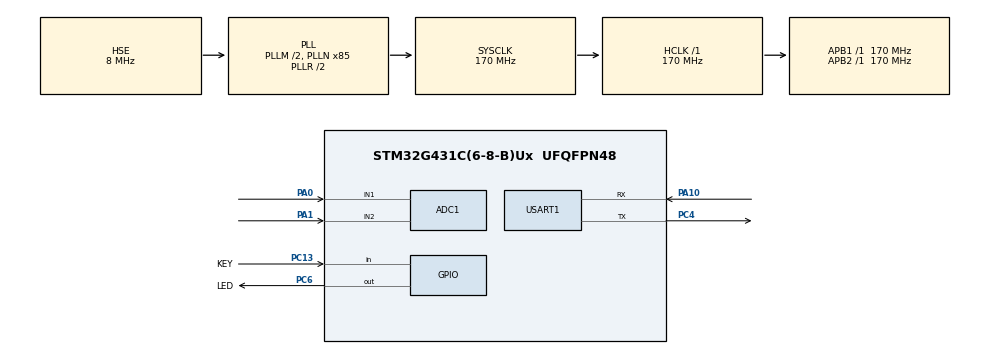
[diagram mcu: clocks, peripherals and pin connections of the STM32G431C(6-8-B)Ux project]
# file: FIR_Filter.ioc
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ADC1.Channel-0\#ChannelRegularConversion=ADC_CHANNEL_1
ADC1.Channel-1\#ChannelRegularConversion=ADC_CHANNEL_2
ADC1.ClockPrescaler=ADC_CLOCK_ASYNC_DIV12
ADC1.ContinuousConvMode=DISABLE
ADC1.DMAContinuousRequests=ENABLE
ADC1.DiscontinuousConvMode=DISABLE
ADC1.EOCSelection=ADC_EOC_SINGLE_CONV
ADC1.ExternalTrigConv=ADC_EXTERNALTRIG_T6_TRGO
ADC1.NbrOfConversion=2
ADC1.NbrOfConversionFlag=1
ADC1.OffsetNumber-0\#ChannelRegularConversion=ADC_OFFSET_NONE
ADC1.OffsetNumber-1\#ChannelRegularConversion=ADC_OFFSET_NONE
ADC1.Overrun=ADC_OVR_DATA_OVERWRITTEN
ADC1.Rank-0\#ChannelRegularConversion=1
ADC1.Rank-1\#ChannelRegularConversion=2
ADC1.SamplingTime-0\#ChannelRegularConversion=ADC_SAMPLETIME_2CYCLES_5
ADC1.SamplingTime-1\#ChannelRegularConversion=ADC_SAMPLETIME_2CYCLES_5
ADC1.master=1
Dma.ADC1.0.Direction=DMA_PERIPH_TO_MEMORY
Dma.ADC1.0.EventEnable=DISABLE
Dma.ADC1.0.Instance=DMA1_Channel1
Dma.ADC1.0.MemDataAlignment=DMA_MDATAALIGN_WORD
Dma.ADC1.0.MemInc=DMA_MINC_ENABLE
Dma.ADC1.0.Mode=DMA_CIRCULAR
Dma.ADC1.0.PeriphDataAlignment=DMA_PDATAALIGN_WORD
Dma.ADC1.0.PeriphInc=DMA_PINC_DISABLE
Dma.ADC1.0.Polarity=HAL_DMAMUX_REQ_GEN_RISING
Dma.ADC1.0.Priority=DMA_PRIORITY_LOW
Dma.ADC1.0.RequestNumber=1
Dma.ADC1.0.SignalID=NONE
Dma.ADC1.0.SyncEnable=DISABLE
Dma.ADC1.0.SyncPolarity=HAL_DMAMUX_SYNC_NO_EVENT
Dma.ADC1.0.SyncRequestNumber=1
Dma.ADC1.0.SyncSignalID=NONE
Dma.Request0=ADC1
Mcu.Family=STM32G4
Mcu.Name=STM32G431C(6-8-B)Ux
Mcu.Package=UFQFPN48
NVIC.DMA1_Channel1_IRQn=true\:0\:0\:false\:false\:true\:false\:true\:true
NVIC.PriorityGroup=NVIC_PRIORITYGROUP_4
PA0.Mode=IN1-Single-Ended
PA0.Signal=ADC1_IN1
PA1.Mode=IN2-Single-Ended
PA1.Signal=ADC1_IN2
PA10.Mode=Asynchronous
PA10.Signal=USART1_RX
PA13.Mode=Trace_Asynchronous_SW
PA13.Signal=SYS_JTMS-SWDIO
PA14.Mode=Trace_Asynchronous_SW
PA14.Signal=SYS_JTCK-SWCLK
PB3.Mode=Trace_Asynchronous_SW
PB3.Signal=SYS_JTDO-SWO
PC13.GPIO_Label=KEY
PC13.GPIO_PuPd=GPIO_PULLDOWN
PC13.Signal=GPIO_Input
PC4.Mode=Asynchronous
PC4.Signal=USART1_TX
PC6.GPIO_Label=LED
PC6.GPIO_ModeDefaultOutputPP=GPIO_MODE_OUTPUT_PP
PC6.GPIO_Speed=GPIO_SPEED_FREQ_LOW
PC6.PinState=GPIO_PIN_RESET
PC6.Signal=GPIO_Output
PF0-OSC_IN.Mode=HSE-External-Oscillator
PF0-OSC_IN.Signal=RCC_OSC_IN
PF1-OSC_OUT.Mode=HSE-External-Oscillator
PF1-OSC_OUT.Signal=RCC_OSC_OUT
ProjectManager.HeapSize=0x200
ProjectManager.StackSize=0x400
ProjectManager.TargetToolchain=STM32CubeIDE
RCC.ADC12Freq_Value=170000000
RCC.AHBFreq_Value=170000000
RCC.APB1Freq_Value=170000000
RCC.APB1TimFreq_Value=170000000
RCC.APB2Freq_Value=170000000
RCC.APB2TimFreq_Value=170000000
RCC.CortexFreq_Value=170000000
RCC.EXTERNAL_CLOCK_VALUE=12288000
RCC.HCLKFreq_Value=170000000
RCC.HSE_VALUE=8000000
RCC.HSI48_VALUE=48000000
RCC.HSI_VALUE=16000000
RCC.LSE_VALUE=32768
RCC.PLLM=RCC_PLLM_DIV2
RCC.PLLN=85
RCC.PLLSourceVirtual=RCC_PLLSOURCE_HSE
RCC.SYSCLKFreq_VALUE=170000000
RCC.SYSCLKSource=RCC_SYSCLKSOURCE_PLLCLK
RCC.USBFreq_Value=170000000
RCC.VCOOutputFreq_Value=340000000
STMicroelectronics.X-CUBE-ALGOBUILD.1.4.0.LibraryCcDSPOoLibraryJjDSPOoLibrary=true
TIM6.PeriodNoDither=2000
TIM6.Prescaler=170-1
TIM6.TIM_MasterOutputTrigger=TIM_TRGO_UPDATE
USART1.VirtualMode-Asynchronous=VM_ASYNC
VP_STMicroelectronics.X-CUBE-ALGOBUILD_VS_DSPOoLibraryJjLibrary_1.4.0_1.4.0.Mode=DSPOoLibraryJjLibrary
VP_SYS_VS_DBSignals.Mode=DisableDeadBatterySignals
VP_TIM6_VS_ClockSourceINT.Mode=Enable_Timer
board=custom

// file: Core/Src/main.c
/* USER CODE BEGIN Header */
/**
  ******************************************************************************
  * @file           : main.c
  * @brief          : Main program body
  ******************************************************************************
  * @attention
  *
  * Copyright (c) 2025 STMicroelectronics.
  * All rights reserved.
  *
  * This software is licensed under terms that can be found in the LICENSE file
  * in the root directory of this software component.
  * If no LICENSE file comes with this software, it is provided AS-IS.
  *
  ******************************************************************************
  */
/* USER CODE END Header */
#include "main.h"

/* USER CODE BEGIN Includes */
#include "console.h"
#include "arm_math.h"
/* USER CODE END Includes */

/* USER CODE BEGIN PD */

#define FIR_LENGTH			59
#define FIR_BLOCK_SIZE		2

/* USER CODE END PD */

ADC_HandleTypeDef hadc1;
DMA_HandleTypeDef hdma_adc1;

TIM_HandleTypeDef htim6;

UART_HandleTypeDef huart1;

/* USER CODE BEGIN PV */

float32_t FIR_Coeff[FIR_LENGTH] = {
    0.000000000000000000,
    0.000025695329810175,
    0.000109001586731170,
    0.000261383834469497,
    0.000497284187006939,
    0.000834034055775751,
    0.001291444409523049,
    0.001891070645768172,
    0.002655173095064218,
    0.003605418278370960,
    0.004761388110941483,
    0.006138982684280025,
    0.007748815659053334,
    0.009594708572398906,
    0.011672390798343837,
    0.013968505240990876,
    0.016460006299700354,
    0.019114016903342568,
    0.021888186575993940,
    0.024731564041054279,
    0.027585967536853457,
    0.030387805705078656,
    0.033070273559075519,
    0.035565823484471772,
    0.037808792095928072,
    0.039738051371860414,
    0.041299547699896848,
    0.042448595699213505,
    0.043151804843812071,
    0.043388535390380012,
    0.043151804843812071,
    0.042448595699213505,
    0.041299547699896848,
    0.039738051371860407,
    0.037808792095928072,
    0.035565823484471785,
    0.033070273559075540,
    0.030387805705078645,
    0.027585967536853460,
    0.024731564041054296,
    0.021888186575993951,
    0.019114016903342579,
    0.016460006299700354,
    0.013968505240990888,
    0.011672390798343854,
    0.009594708572398910,
    0.007748815659053343,
    0.006138982684280031,
    0.004761388110941481,
    0.003605418278370961,
    0.002655173095064216,
    0.001891070645768171,
    0.001291444409523047,
    0.000834034055775751,
    0.000497284187006940,
    0.000261383834469497,
    0.000109001586731170,
    0.000025695329810175,
    0.000000000000000000};

arm_fir_instance_f32 FIR_Instance;
float32_t FIR_In_arm[FIR_BLOCK_SIZE], FIR_Out_arm[FIR_BLOCK_SIZE], FIR_State[FIR_BLOCK_SIZE + FIR_LENGTH - 1];

uint32_t ADC_Array[FIR_BLOCK_SIZE];

/* USER CODE END PV */

void SystemClock_Config(void);
static void MX_GPIO_Init(void);
static void MX_DMA_Init(void);
static void MX_ADC1_Init(void);
static void MX_USART1_UART_Init(void);
static void MX_TIM6_Init(void);

/* USER CODE BEGIN 0 */

void ADCArrayToFIR(void) {
	FIR_In_arm[0] = (float32_t)ADC_Array[0];
	FIR_In_arm[1] = (float32_t)ADC_Array[1];
	arm_fir_f32(&FIR_Instance, (float32_t *)&FIR_In_arm, (float32_t *)&FIR_Out_arm, FIR_BLOCK_SIZE);
}

/* USER CODE END 0 */

int main(void)
{

  /* MCU Configuration--------------------------------------------------------*/

  /* Reset of all peripherals, Initializes the Flash interface and the Systick. */
  HAL_Init();

  /* Configure the system clock */
  SystemClock_Config();

  /* Initialize all configured peripherals */
  MX_GPIO_Init();
  MX_DMA_Init();
  MX_ADC1_Init();
  MX_USART1_UART_Init();
  MX_TIM6_Init();
  /* USER CODE BEGIN 2 */

  // Init Filter
  arm_fir_init_f32(&FIR_Instance, FIR_LENGTH, (float32_t *)&FIR_Coeff, (float32_t *)&FIR_State, FIR_BLOCK_SIZE);

  // Calibrate ADC
  HAL_ADCEx_Calibration_Start(&hadc1, ADC_SINGLE_ENDED);

  // Start ADC
  HAL_ADC_Start_DMA(&hadc1, (uint32_t *)&ADC_Array, FIR_BLOCK_SIZE);

  // Disable Half Transfer Interrupt
  __HAL_DMA_DISABLE_IT(&hdma_adc1, DMA_IT_HT);

  // Start Clock Timer
  HAL_TIM_Base_Start(&htim6);

  printf("\r\nStart\r\n");

  /* USER CODE END 2 */

  /* Infinite loop */
  /* USER CODE BEGIN WHILE */
  while (1)
  {

	 HAL_Delay(100);

    /* USER CODE END WHILE */

  }
}

void SystemClock_Config(void)
{
  RCC_OscInitTypeDef RCC_OscInitStruct = {0};
  RCC_ClkInitTypeDef RCC_ClkInitStruct = {0};

  /** Configure the main internal regulator output voltage
  */
  HAL_PWREx_ControlVoltageScaling(PWR_REGULATOR_VOLTAGE_SCALE1_BOOST);

  /** Initializes the RCC Oscillators according to the specified parameters
  * in the RCC_OscInitTypeDef structure.
  */
  RCC_OscInitStruct.OscillatorType = RCC_OSCILLATORTYPE_HSE;
  RCC_OscInitStruct.HSEState = RCC_HSE_ON;
  RCC_OscInitStruct.PLL.PLLState = RCC_PLL_ON;
  RCC_OscInitStruct.PLL.PLLSource = RCC_PLLSOURCE_HSE;
  RCC_OscInitStruct.PLL.PLLM = RCC_PLLM_DIV2;
  RCC_OscInitStruct.PLL.PLLN = 85;
  RCC_OscInitStruct.PLL.PLLP = RCC_PLLP_DIV2;
  RCC_OscInitStruct.PLL.PLLQ = RCC_PLLQ_DIV2;
  RCC_OscInitStruct.PLL.PLLR = RCC_PLLR_DIV2;
  if (HAL_RCC_OscConfig(&RCC_OscInitStruct) != HAL_OK)
  {
    Error_Handler();
  }

  /** Initializes the CPU, AHB and APB buses clocks
  */
  RCC_ClkInitStruct.ClockType = RCC_CLOCKTYPE_HCLK|RCC_CLOCKTYPE_SYSCLK
                              |RCC_CLOCKTYPE_PCLK1|RCC_CLOCKTYPE_PCLK2;
  RCC_ClkInitStruct.SYSCLKSource = RCC_SYSCLKSOURCE_PLLCLK;
  RCC_ClkInitStruct.AHBCLKDivider = RCC_SYSCLK_DIV1;
  RCC_ClkInitStruct.APB1CLKDivider = RCC_HCLK_DIV1;
  RCC_ClkInitStruct.APB2CLKDivider = RCC_HCLK_DIV1;

  if (HAL_RCC_ClockConfig(&RCC_ClkInitStruct, FLASH_LATENCY_4) != HAL_OK)
  {
    Error_Handler();
  }
}

static void MX_ADC1_Init(void)
{

  ADC_MultiModeTypeDef multimode = {0};
  ADC_ChannelConfTypeDef sConfig = {0};

  /** Common config
  */
  hadc1.Instance = ADC1;
  hadc1.Init.ClockPrescaler = ADC_CLOCK_ASYNC_DIV12;
  hadc1.Init.Resolution = ADC_RESOLUTION_12B;
  hadc1.Init.DataAlign = ADC_DATAALIGN_RIGHT;
  hadc1.Init.GainCompensation = 0;
  hadc1.Init.ScanConvMode = ADC_SCAN_ENABLE;
  hadc1.Init.EOCSelection = ADC_EOC_SINGLE_CONV;
  hadc1.Init.LowPowerAutoWait = DISABLE;
  hadc1.Init.ContinuousConvMode = DISABLE;
  hadc1.Init.NbrOfConversion = 2;
  hadc1.Init.DiscontinuousConvMode = DISABLE;
  hadc1.Init.ExternalTrigConv = ADC_EXTERNALTRIG_T6_TRGO;
  hadc1.Init.ExternalTrigConvEdge = ADC_EXTERNALTRIGCONVEDGE_RISING;
  hadc1.Init.DMAContinuousRequests = ENABLE;
  hadc1.Init.Overrun = ADC_OVR_DATA_OVERWRITTEN;
  hadc1.Init.OversamplingMode = DISABLE;
  if (HAL_ADC_Init(&hadc1) != HAL_OK)
  {
    Error_Handler();
  }

  /** Configure the ADC multi-mode
  */
  multimode.Mode = ADC_MODE_INDEPENDENT;
  if (HAL_ADCEx_MultiModeConfigChannel(&hadc1, &multimode) != HAL_OK)
  {
    Error_Handler();
  }

  /** Configure Regular Channel
  */
  sConfig.Channel = ADC_CHANNEL_1;
  sConfig.Rank = ADC_REGULAR_RANK_1;
  sConfig.SamplingTime = ADC_SAMPLETIME_2CYCLES_5;
  sConfig.SingleDiff = ADC_SINGLE_ENDED;
  sConfig.OffsetNumber = ADC_OFFSET_NONE;
  sConfig.Offset = 0;
  if (HAL_ADC_ConfigChannel(&hadc1, &sConfig) != HAL_OK)
  {
    Error_Handler();
  }

  /** Configure Regular Channel
  */
  sConfig.Channel = ADC_CHANNEL_2;
  sConfig.Rank = ADC_REGULAR_RANK_2;
  if (HAL_ADC_ConfigChannel(&hadc1, &sConfig) != HAL_OK)
  {
    Error_Handler();
  }

}

static void MX_TIM6_Init(void)
{

  TIM_MasterConfigTypeDef sMasterConfig = {0};

  htim6.Instance = TIM6;
  htim6.Init.Prescaler = 170-1;
  htim6.Init.CounterMode = TIM_COUNTERMODE_UP;
  htim6.Init.Period = 2000;
  htim6.Init.AutoReloadPreload = TIM_AUTORELOAD_PRELOAD_DISABLE;
  if (HAL_TIM_Base_Init(&htim6) != HAL_OK)
  {
    Error_Handler();
  }
  sMasterConfig.MasterOutputTrigger = TIM_TRGO_UPDATE;
  sMasterConfig.MasterSlaveMode = TIM_MASTERSLAVEMODE_DISABLE;
  if (HAL_TIMEx_MasterConfigSynchronization(&htim6, &sMasterConfig) != HAL_OK)
  {
    Error_Handler();
  }

}

static void MX_USART1_UART_Init(void)
{

  huart1.Instance = USART1;
  huart1.Init.BaudRate = 115200;
  huart1.Init.WordLength = UART_WORDLENGTH_8B;
  huart1.Init.StopBits = UART_STOPBITS_1;
  huart1.Init.Parity = UART_PARITY_NONE;
  huart1.Init.Mode = UART_MODE_TX_RX;
  huart1.Init.HwFlowCtl = UART_HWCONTROL_NONE;
  huart1.Init.OverSampling = UART_OVERSAMPLING_16;
  huart1.Init.OneBitSampling = UART_ONE_BIT_SAMPLE_DISABLE;
  huart1.Init.ClockPrescaler = UART_PRESCALER_DIV1;
  huart1.AdvancedInit.AdvFeatureInit = UART_ADVFEATURE_NO_INIT;
  if (HAL_UART_Init(&huart1) != HAL_OK)
  {
    Error_Handler();
  }
  if (HAL_UARTEx_SetTxFifoThreshold(&huart1, UART_TXFIFO_THRESHOLD_1_8) != HAL_OK)
  {
    Error_Handler();
  }
  if (HAL_UARTEx_SetRxFifoThreshold(&huart1, UART_RXFIFO_THRESHOLD_1_8) != HAL_OK)
  {
    Error_Handler();
  }
  if (HAL_UARTEx_DisableFifoMode(&huart1) != HAL_OK)
  {
    Error_Handler();
  }

}

static void MX_DMA_Init(void)
{

  /* DMA controller clock enable */
  __HAL_RCC_DMAMUX1_CLK_ENABLE();
  __HAL_RCC_DMA1_CLK_ENABLE();

  /* DMA interrupt init */
  /* DMA1_Channel1_IRQn interrupt configuration */
  HAL_NVIC_SetPriority(DMA1_Channel1_IRQn, 0, 0);
  HAL_NVIC_EnableIRQ(DMA1_Channel1_IRQn);

}

static void MX_GPIO_Init(void)
{
  GPIO_InitTypeDef GPIO_InitStruct = {0};

  /* GPIO Ports Clock Enable */
  __HAL_RCC_GPIOC_CLK_ENABLE();
  __HAL_RCC_GPIOF_CLK_ENABLE();
  __HAL_RCC_GPIOA_CLK_ENABLE();
  __HAL_RCC_GPIOB_CLK_ENABLE();

  /*Configure GPIO pin Output Level */
  HAL_GPIO_WritePin(LED_GPIO_Port, LED_Pin, GPIO_PIN_RESET);

  /*Configure GPIO pin : KEY_Pin */
  GPIO_InitStruct.Pin = KEY_Pin;
  GPIO_InitStruct.Mode = GPIO_MODE_INPUT;
  GPIO_InitStruct.Pull = GPIO_PULLDOWN;
  HAL_GPIO_Init(KEY_GPIO_Port, &GPIO_InitStruct);

  /*Configure GPIO pin : LED_Pin */
  GPIO_InitStruct.Pin = LED_Pin;
  GPIO_InitStruct.Mode = GPIO_MODE_OUTPUT_PP;
  GPIO_InitStruct.Pull = GPIO_NOPULL;
  GPIO_InitStruct.Speed = GPIO_SPEED_FREQ_LOW;
  HAL_GPIO_Init(LED_GPIO_Port, &GPIO_InitStruct);

}

void Error_Handler(void)
{
  __disable_irq();
  while (1)
  {
  }
}
